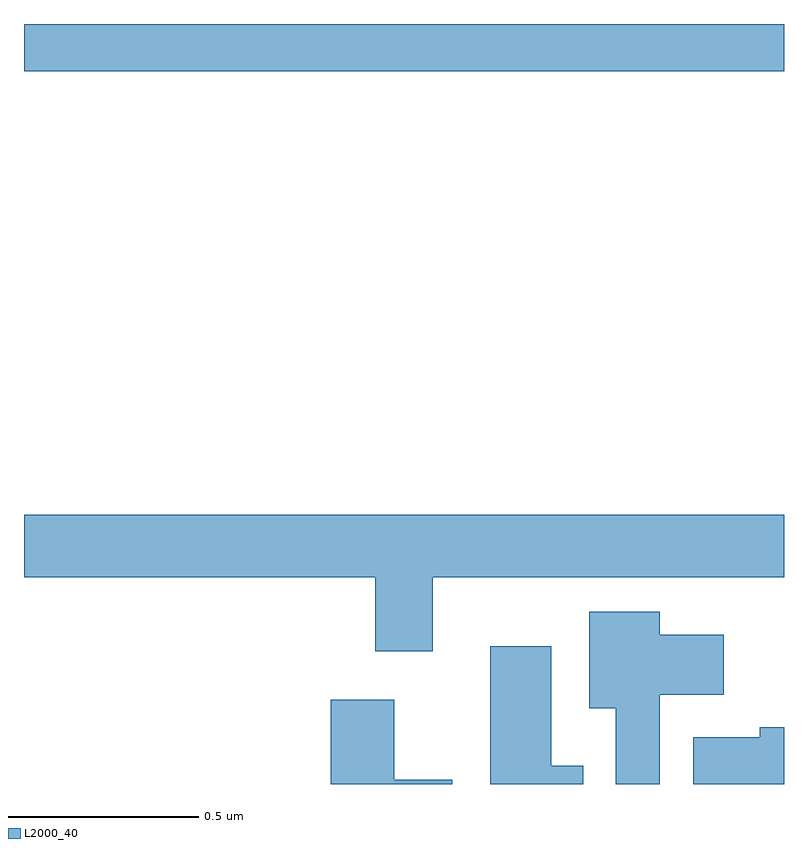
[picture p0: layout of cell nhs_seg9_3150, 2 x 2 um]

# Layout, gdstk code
import gdstk
lib = gdstk.Library(unit=1e-6, precision=1e-09)
def R(c, l, rs):  # rectangles x0, y0, x1, y1
    for r in rs: c.add(gdstk.rectangle(r[:2], r[2:], *l))
def P(c, l, *ps):  # polygons
    for p in ps: c.add(gdstk.Polygon(p, *l))
L2000_40 = (2000, 40)

nhs_seg9_3150 = lib.new_cell('nhs_seg9_3150')
R(nhs_seg9_3150, L2000_40, [(149,1240.376,151,1240.5)])
P(nhs_seg9_3150, L2000_40, [(150.076,1239.044),(151,1239.044),(151,1239.208),(149,1239.208),(149,1239.044),(149.924,1239.044),(149.924,1238.85),(150.076,1238.85)],
  [(150.673,1238.735),(150.841,1238.735),(150.841,1238.893),(150.673,1238.893),(150.673,1238.953),(150.488,1238.953),(150.488,1238.699),(150.557,1238.699),(150.557,1238.5),(150.673,1238.5)],
  [(150.472,1238.548),(150.388,1238.548),(150.388,1238.863),(150.227,1238.863),(150.227,1238.5),(150.472,1238.5)],
  [(150.127,1238.511),(149.974,1238.511),(149.974,1238.722),(149.807,1238.722),(149.807,1238.5),(150.127,1238.5)],
  [(151,1238.65),(150.936,1238.65),(150.936,1238.623),(150.761,1238.623),(150.761,1238.5),(151,1238.5)])

lib.write_gds('nhs_seg9_3150.gds')
